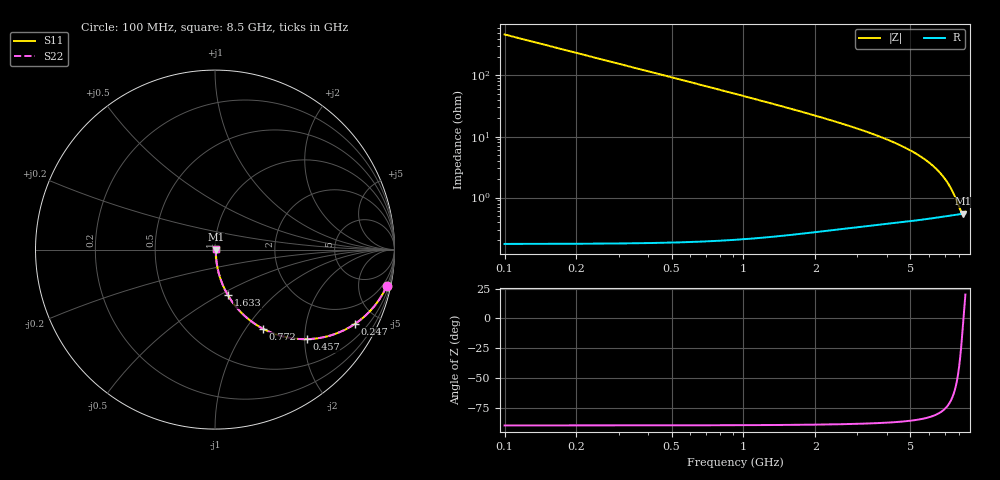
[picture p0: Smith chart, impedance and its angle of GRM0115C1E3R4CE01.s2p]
!Murata Part Number: GRM0115C1E3R4CE01
!These Parameters are Measured in Series Mode Connection
!Data Generated on Mar 30, 2021
!  o--ll--o
!Port1  Port2
!  o------o
!Operation Temp=25[degC], DC Bias Voltage=0[V]
!Freq. Start=100[MHz] Stop=9[GHz] 401[Steps]
# Hz S RI R 50
!Freq.(Hz) S11(Real) S11(Imag) S21(Real) S21(Imag) S12(Real) S12(Imag) S22(Real) S22(Imag)
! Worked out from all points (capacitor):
!   401 points, 100 MHz to 8.5 GHz, reference 50 ohm
!   read as one part in series: C = 3.4 pF near 142 MHz
!   lowest |Z| = 546 mohm at 8.332 GHz (marker M1)
!   series resonance near 8.344 GHz, so ESL is about 110 pH
!   S11 on the Smith chart (normalised r, x): 100 MHz: 1.00, -9.36; 247 MHz: 1.00, -3.79; 457 MHz: 1.00, -2.04; 772 MHz: 1.00, -1.20; 1.633 GHz: 1.00, -0.55; 8.5 GHz: 1.01, +0.00
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1e8  0.9563 -0.2043  0.0437 0.2043  0.0437 0.2043  0.9563 -0.2043
1.84e8  0.8659 -0.3404  0.1341 0.3404  0.1341 0.3404  0.8659 -0.3404
2.47e8  0.7817 -0.4127  0.2183 0.4127  0.2183 0.4127  0.7817 -0.4127
3.52e8  0.6377 -0.48  0.3623 0.48  0.3623 0.48  0.6377 -0.48
4.57e8  0.5103 -0.499  0.4897 0.499  0.4897 0.499  0.5103 -0.499
6.04e8  0.3728 -0.4823  0.6272 0.4823  0.6272 0.4823  0.3728 -0.4823
7.72e8  0.2657 -0.4401  0.7343 0.4401  0.7343 0.4401  0.2657 -0.4401
9.19e8  0.2025 -0.3999  0.7975 0.3999  0.7975 0.3999  0.2025 -0.3999
1.087e9  0.1527 -0.3572  0.8473 0.3572  0.8473 0.3572  0.1527 -0.3572
1.507e9  0.0841 -0.2736  0.9159 0.2736  0.9159 0.2736  0.0841 -0.2736
1.633e9  0.0721 -0.2542  0.9279 0.2542  0.9279 0.2542  0.0721 -0.2542
2.2e9  0.0398 -0.1885  0.9602 0.1885  0.9602 0.1885  0.0398 -0.1885
2.914e9  0.0222 -0.1363  0.9778 0.1363  0.9778 0.1363  0.0222 -0.1363
4.3e9  0.00994 -0.0778  0.9901 0.0778  0.9901 0.0778  0.00994 -0.0778
5.707e9  0.00619 -0.0424  0.9938 0.0424  0.9938 0.0424  0.00619 -0.0424
6.484e9  0.00546 -0.0277  0.9945 0.0277  0.9945 0.0277  0.00546 -0.0277
7.114e9  0.00525 -0.0173  0.9948 0.0173  0.9948 0.0173  0.00525 -0.0173
7.555e9  0.00524 -0.0107  0.9948 0.0107  0.9948 0.0107  0.00524 -0.0107
8.122e9  0.00535 -0.00291  0.9946 0.00291  0.9946 0.00291  0.00535 -0.00291
8.227e9  0.00539 -0.00152  0.9946 0.00152  0.9946 0.00152  0.00539 -0.00152
8.332e9  0.00542 -0.00016  0.9946 0.00016  0.9946 0.00016  0.00542 -0.00016
8.5e9  0.00549 0.00198  0.9945 -0.00198  0.9945 -0.00198  0.00549 0.00198
